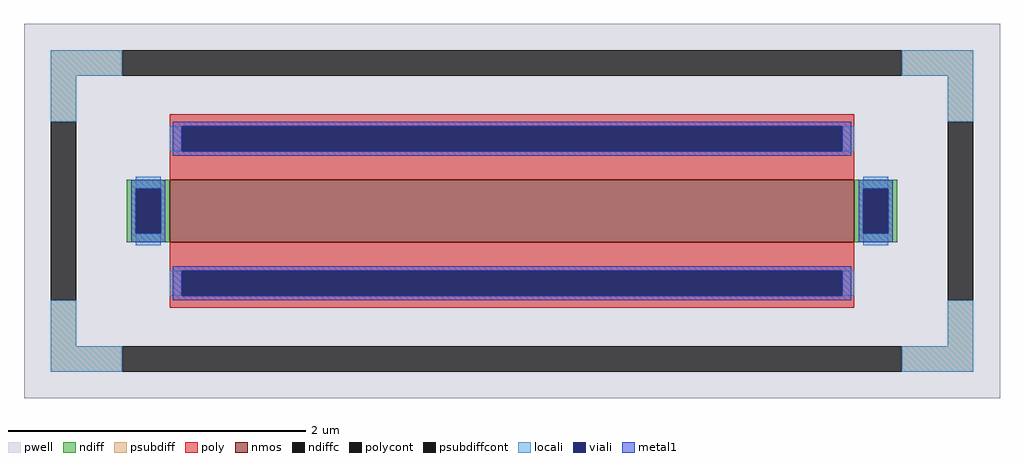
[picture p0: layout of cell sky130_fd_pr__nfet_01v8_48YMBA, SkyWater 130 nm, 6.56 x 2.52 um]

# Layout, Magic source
magic
tech sky130A
<< pwell >>
rect -328 -126 328 126
<< nmos >>
rect -230 -21 230 21
<< ndiff >>
rect -259 15 -230 21
rect -259 -15 -253 15
rect -236 -15 -230 15
rect -259 -21 -230 -15
rect 230 15 259 21
rect 230 -15 236 15
rect 253 -15 259 15
rect 230 -21 259 -15
<< ndiffc >>
rect -253 -15 -236 15
rect 236 -15 253 15
<< psubdiff >>
rect -310 91 -262 108
rect 262 91 310 108
rect -310 60 -293 91
rect 293 60 310 91
rect -310 -91 -293 -60
rect 293 -91 310 -60
rect -310 -108 -262 -91
rect 262 -108 310 -91
<< psubdiffcont >>
rect -262 91 262 108
rect -310 -60 -293 60
rect 293 -60 310 60
rect -262 -108 262 -91
<< poly >>
rect -230 57 230 65
rect -230 40 -222 57
rect 222 40 230 57
rect -230 21 230 40
rect -230 -40 230 -21
rect -230 -57 -222 -40
rect 222 -57 230 -40
rect -230 -65 230 -57
<< polycont >>
rect -222 40 222 57
rect -222 -57 222 -40
<< locali >>
rect -310 91 -262 108
rect 262 91 310 108
rect -310 60 -293 91
rect 293 60 310 91
rect -230 40 -222 57
rect 222 40 230 57
rect -253 15 -236 23
rect -253 -23 -236 -15
rect 236 15 253 23
rect 236 -23 253 -15
rect -230 -57 -222 -40
rect 222 -57 230 -40
rect -310 -91 -293 -60
rect 293 -91 310 -60
rect -310 -108 -262 -91
rect 262 -108 310 -91
<< viali >>
rect -222 40 222 57
rect -253 -15 -236 15
rect 236 -15 253 15
rect -222 -57 222 -40
<< metal1 >>
rect -228 57 228 60
rect -228 40 -222 57
rect 222 40 228 57
rect -228 37 228 40
rect -256 15 -233 21
rect -256 -15 -253 15
rect -236 -15 -233 15
rect -256 -21 -233 -15
rect 233 15 256 21
rect 233 -15 236 15
rect 253 -15 256 15
rect 233 -21 256 -15
rect -228 -40 228 -37
rect -228 -57 -222 -40
rect 222 -57 228 -40
rect -228 -60 228 -57
<< properties >>
string FIXED_BBOX -301 -99 301 99
string gencell sky130_fd_pr__nfet_01v8
string library sky130
string parameters w 0.42 l 4.6 m 1 nf 1 diffcov 100 polycov 100 guard 1 glc 1 grc 1 gtc 1 gbc 1 tbcov 100 rlcov 100 topc 1 botc 1 poverlap 0 doverlap 1 lmin 0.15 wmin 0.42 compatible {sky130_fd_pr__nfet_01v8 sky130_fd_pr__nfet_01v8_lvt  sky130_fd_bs_flash__special_sonosfet_star  sky130_fd_pr__nfet_g5v0d10v5 sky130_fd_pr__nfet_05v0_nvt  sky130_fd_pr__nfet_03v3_nvt} full_metal 1 viasrc 100 viadrn 100 viagate 100 viagb 0 viagr 0 viagl 0 viagt 0
<< end >>
